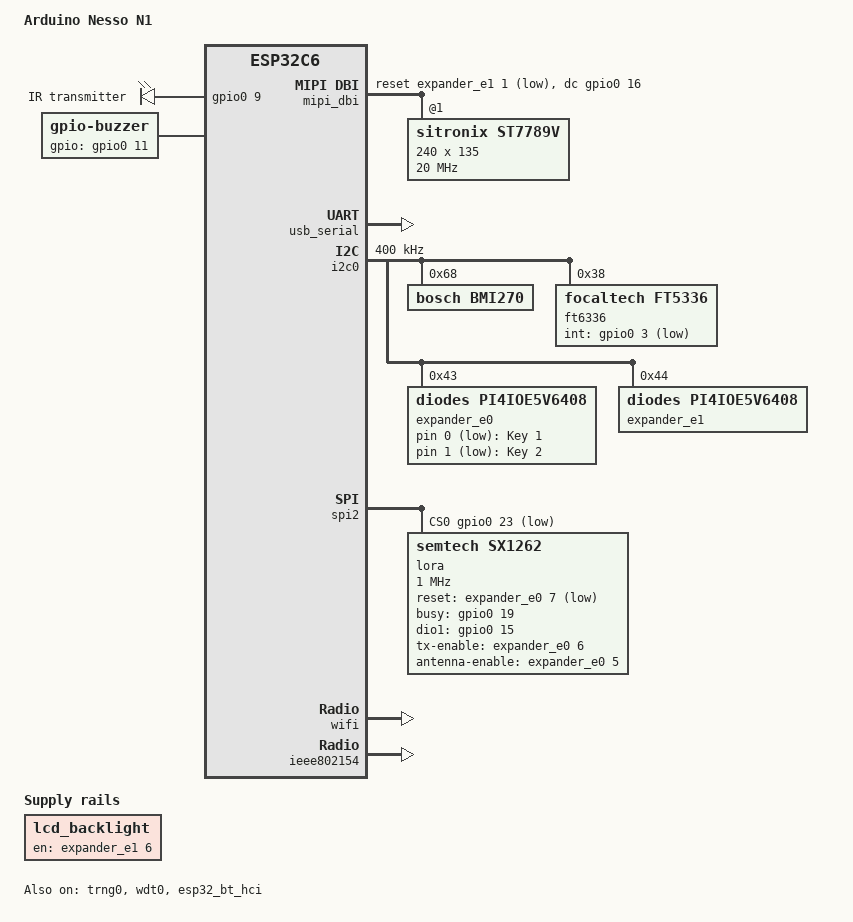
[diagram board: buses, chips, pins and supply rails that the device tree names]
/*
 * Copyright (c) 2026 Carlo Caione <ccaione@baylibre.com>
 *
 * SPDX-License-Identifier: Apache-2.0
 */

/dts-v1/;

#include <espressif/esp32c6/esp32c6_common.dtsi>
#include "arduino_nesso_n1-pinctrl.dtsi"
#include <espressif/partitions_0x0_default.dtsi>
#include <zephyr/dt-bindings/lora/sx126x.h>
#include <zephyr/dt-bindings/mipi_dbi/mipi_dbi.h>
#include <zephyr/dt-bindings/display/panel.h>
#include <zephyr/dt-bindings/input/input-event-codes.h>

/ {
	model = "Arduino Nesso N1";
	compatible = "arduino,nesso-n1";

	chosen {
		zephyr,sram = &sramhp;
		zephyr,console = &usb_serial;
		zephyr,shell-uart = &usb_serial;
		zephyr,flash = &flash0;
		zephyr,code-partition = &slot0_partition;
		zephyr,bt-hci = &esp32_bt_hci;
		zephyr,ieee802154 = &ieee802154;
		zephyr,display = &st7789v;
		zephyr,touch = &ft6336;
	};

	aliases {
		watchdog0 = &wdt0;
		accel0 = &bmi270;
		lora0 = &lora;
		buzzer0 = &buzzer;
		ir = &ir_tx;
		sw0 = &key1;
		sw1 = &key2;
	};

	leds {
		compatible = "gpio-leds";

		ir_tx: ir_tx {
			gpios = <&gpio0 9 GPIO_ACTIVE_HIGH>;
			label = "IR transmitter";
		};
	};

	buzzer: buzzer {
		compatible = "gpio-buzzer";
		gpios = <&gpio0 11 GPIO_ACTIVE_HIGH>;
	};

	keys {
		compatible = "gpio-keys";

		key1: key1 {
			gpios = <&expander_e0 0 (GPIO_ACTIVE_LOW | GPIO_PULL_UP)>;
			label = "Key 1";
			zephyr,code = <INPUT_KEY_0>;
		};

		key2: key2 {
			gpios = <&expander_e0 1 (GPIO_ACTIVE_LOW | GPIO_PULL_UP)>;
			label = "Key 2";
			zephyr,code = <INPUT_KEY_1>;
		};
	};

	lcd_backlight: lcd_backlight {
		compatible = "regulator-fixed";
		regulator-name = "lcd-backlight";
		enable-gpios = <&expander_e1 6 GPIO_ACTIVE_HIGH>;
		regulator-boot-on;
	};

	mipi_dbi {
		compatible = "zephyr,mipi-dbi-spi";
		spi-dev = <&spi2>;
		dc-gpios = <&gpio0 16 GPIO_ACTIVE_HIGH>;
		reset-gpios = <&expander_e1 1 GPIO_ACTIVE_LOW>;
		write-only;
		#address-cells = <1>;
		#size-cells = <0>;

		st7789v: st7789v@1 {
			compatible = "sitronix,st7789v";
			reg = <1>;
			mipi-max-frequency = <DT_FREQ_M(20)>;
			mipi-mode = "MIPI_DBI_MODE_SPI_4WIRE";
			width = <240>;
			height = <135>;
			x-offset = <40>;
			y-offset = <52>;
			vcom = <0x20>;
			gctrl = <0x35>;
			vrhs = <0x0b>;
			vdvs = <0x20>;
			mdac = <0xa0>;
			gamma = <0x01>;
			pixel-format = <PANEL_PIXEL_FORMAT_RGB_565>;
			lcm = <0x2c>;
			porch-param = [0c 0c 00 33 33];
			cmd2en-param = [5a 69 02 01];
			pwctrl1-param = [a4 a1];
			pvgam-param = [70 2c 2e 15 10 09 48 33 53 0b 19 18 20 25];
			nvgam-param = [70 2c 2e 15 10 09 48 33 53 0b 19 18 20 25];
			ram-param = [00 f0];
			rgb-param = [40 02 14];
		};
	};
};

&flash0 {
	reg = <0x0 DT_SIZE_M(16)>;
	ranges = <0x0 0x0 DT_SIZE_M(16)>;
};

&trng0 {
	status = "okay";
};

&gpio0 {
	status = "okay";
};

&wdt0 {
	status = "okay";
};

&usb_serial {
	status = "okay";
};

&i2c0 {
	status = "okay";
	clock-frequency = <I2C_BITRATE_FAST>;
	pinctrl-0 = <&i2c0_default>;
	pinctrl-names = "default";

	bmi270: bmi270@68 {
		compatible = "bosch,bmi270";
		reg = <0x68>;
		status = "okay";
	};

	ft6336: ft6336@38 {
		compatible = "focaltech,ft5336";
		reg = <0x38>;
		int-gpios = <&gpio0 3 (GPIO_ACTIVE_LOW | GPIO_PULL_UP)>;
		screen-width = <240>;
		screen-height = <135>;
		inverted-x;
	};

	expander_e0: pi4ioe5v6408@43 {
		compatible = "diodes,pi4ioe5v6408";
		reg = <0x43>;
		gpio-controller;
		#gpio-cells = <2>;
		ngpios = <8>;
	};

	expander_e1: pi4ioe5v6408@44 {
		compatible = "diodes,pi4ioe5v6408";
		reg = <0x44>;
		gpio-controller;
		#gpio-cells = <2>;
		ngpios = <8>;
	};
};

&spi2 {
	#address-cells = <1>;
	#size-cells = <0>;
	status = "okay";
	pinctrl-0 = <&spim2_default>;
	pinctrl-names = "default";
	cs-gpios = <&gpio0 23 GPIO_ACTIVE_LOW>,
		   <&gpio0 17 GPIO_ACTIVE_LOW>;

	lora: lora@0 {
		compatible = "semtech,sx1262";
		reg = <0>;
		spi-max-frequency = <1000000>;
		reset-gpios = <&expander_e0 7 GPIO_ACTIVE_LOW>;
		busy-gpios = <&gpio0 19 GPIO_ACTIVE_HIGH>;
		dio1-gpios = <&gpio0 15 GPIO_ACTIVE_HIGH>;
		tx-enable-gpios = <&expander_e0 6 GPIO_ACTIVE_HIGH>;
		antenna-enable-gpios = <&expander_e0 5 GPIO_ACTIVE_HIGH>;
		dio3-tcxo-voltage = <SX126X_DIO3_TCXO_1V8>;
		tcxo-power-startup-delay-ms = <5>;
	};
};

&wifi {
	status = "okay";
};

&ieee802154 {
	status = "okay";
};

&esp32_bt_hci {
	status = "okay";
};
